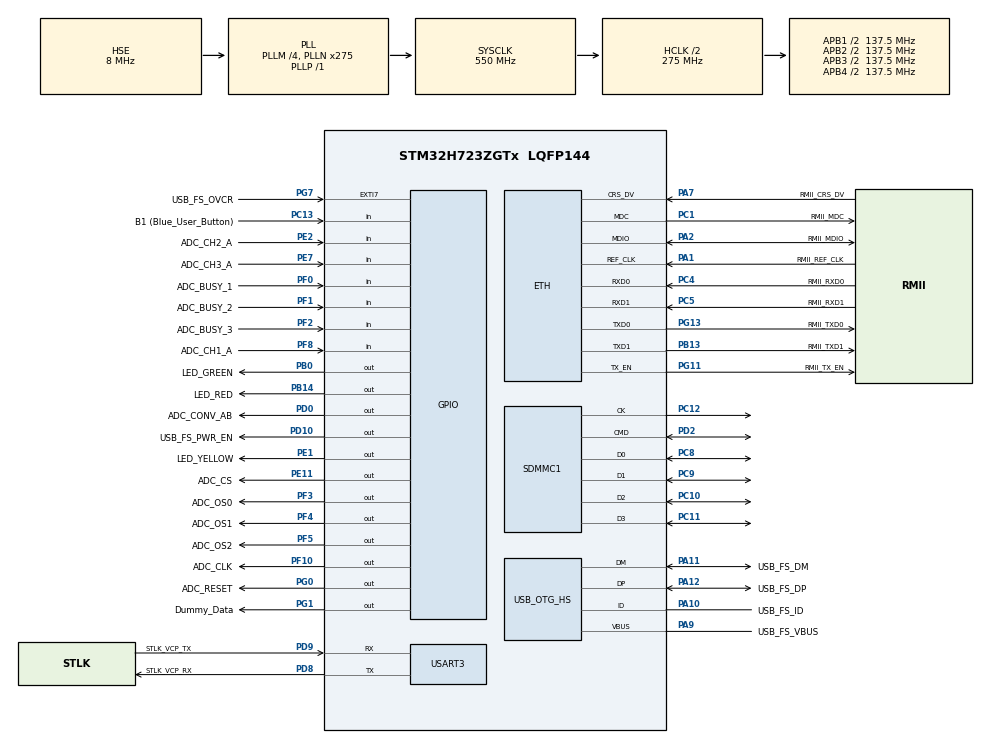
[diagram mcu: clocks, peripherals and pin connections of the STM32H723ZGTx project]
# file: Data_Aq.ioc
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ETH.MediaInterface=HAL_ETH_RMII_MODE
FATFS.BSP.number=1
FATFS.USE_DMA_CODE_SD=1
FATFS0.BSP.STBoard=false
FATFS0.BSP.api=Unknown
FATFS0.BSP.i2caddr=0
FATFS0.BSP.instance=PC13
FATFS0.BSP.ip=GPIO
FATFS0.BSP.mode=Input
FATFS0.BSP.name=Detect_SDIO
FATFS0.BSP.solution=PC13
FREERTOS.Tasks01=SDCard,26,1024,StartSDCardTask,Default,NULL,Dynamic,NULL,NULL;ServiceADC,25,1024,StartServiceADC,Default,NULL,Dynamic,NULL,NULL
FREERTOS.configTOTAL_HEAP_SIZE=122880
FREERTOS.configUSE_NEWLIB_REENTRANT=1
Mcu.Family=STM32H7
Mcu.Name=STM32H723ZGTx
Mcu.Package=LQFP144
Mdma.MDMA_Channel0.Request0=SDMMC1_END_DATA
Mdma.MDMA_Channel0.RequestsNb=1
Mdma.MDMA_Channel0.SDMMC1_END_DATA.0.BlockCount=0
Mdma.MDMA_Channel0.SDMMC1_END_DATA.0.BlockDataLength=0
Mdma.MDMA_Channel0.SDMMC1_END_DATA.0.BufferTransferLength=1
Mdma.MDMA_Channel0.SDMMC1_END_DATA.0.CircularMode=MDMA_LINEAR_LIST
Mdma.MDMA_Channel0.SDMMC1_END_DATA.0.DataAlignment=MDMA_DATAALIGN_PACKENABLE
Mdma.MDMA_Channel0.SDMMC1_END_DATA.0.DestBlockAddressOffset=0
Mdma.MDMA_Channel0.SDMMC1_END_DATA.0.DestBurst=MDMA_DEST_BURST_SINGLE
Mdma.MDMA_Channel0.SDMMC1_END_DATA.0.DestDataSize=MDMA_DEST_DATASIZE_BYTE
Mdma.MDMA_Channel0.SDMMC1_END_DATA.0.DestinationInc=MDMA_DEST_INC_BYTE
Mdma.MDMA_Channel0.SDMMC1_END_DATA.0.DstAddress=0
Mdma.MDMA_Channel0.SDMMC1_END_DATA.0.Endianness=MDMA_LITTLE_ENDIANNESS_PRESERVE
Mdma.MDMA_Channel0.SDMMC1_END_DATA.0.Instance=MDMA_Channel0
Mdma.MDMA_Channel0.SDMMC1_END_DATA.0.MaskAddress=0
Mdma.MDMA_Channel0.SDMMC1_END_DATA.0.MaskData=0
Mdma.MDMA_Channel0.SDMMC1_END_DATA.0.Priority=MDMA_PRIORITY_LOW
Mdma.MDMA_Channel0.SDMMC1_END_DATA.0.Rank=First
Mdma.MDMA_Channel0.SDMMC1_END_DATA.0.SourceBlockAddressOffset=0
Mdma.MDMA_Channel0.SDMMC1_END_DATA.0.SourceBurst=MDMA_SOURCE_BURST_SINGLE
Mdma.MDMA_Channel0.SDMMC1_END_DATA.0.SourceDataSize=MDMA_SRC_DATASIZE_BYTE
Mdma.MDMA_Channel0.SDMMC1_END_DATA.0.SourceInc=MDMA_SRC_INC_BYTE
Mdma.MDMA_Channel0.SDMMC1_END_DATA.0.SrcAddress=0
Mdma.MDMA_Channel0.SDMMC1_END_DATA.0.TransferTriggerMode=MDMA_BUFFER_TRANSFER
Mdma.RequestSet0=MDMA_Channel0
Mdma.RequestSetsNb=1
NVIC.MDMA_IRQn=true\:5\:0\:false\:false\:true\:false\:false\:true
NVIC.PriorityGroup=NVIC_PRIORITYGROUP_4
NVIC.SDMMC1_IRQn=true\:5\:0\:false\:false\:true\:true\:true\:true
NVIC.TIM1_UP_IRQn=true\:15\:0\:false\:false\:true\:false\:false\:true
NVIC.TimeBase=TIM1_UP_IRQn
NVIC.TimeBaseIP=TIM1
PA1.GPIO_Label=RMII_REF_CLK
PA1.Mode=RMII
PA1.Signal=ETH_REF_CLK
PA10.GPIO_Label=USB_FS_ID
PA10.Mode=OTG/Dual-Role-Device-FS
PA10.Signal=USB_OTG_HS_ID
PA11.GPIO_Label=USB_FS_DM
PA11.Mode=OTG/Dual-Role-Device-FS
PA11.Signal=USB_OTG_HS_DM
PA12.GPIO_Label=USB_FS_DP
PA12.Mode=OTG/Dual-Role-Device-FS
PA12.Signal=USB_OTG_HS_DP
PA13(JTMS/SWDIO).GPIO_Label=SWDIO
PA13(JTMS/SWDIO).Mode=Trace_Asynchronous_SW
PA13(JTMS/SWDIO).Signal=DEBUG_JTMS-SWDIO
PA14(JTCK/SWCLK).GPIO_Label=SWCLK
PA14(JTCK/SWCLK).Mode=Trace_Asynchronous_SW
PA14(JTCK/SWCLK).Signal=DEBUG_JTCK-SWCLK
PA2.GPIO_Label=RMII_MDIO
PA2.Mode=RMII
PA2.Signal=ETH_MDIO
PA7.GPIO_Label=RMII_CRS_DV
PA7.Mode=RMII
PA7.Signal=ETH_CRS_DV
PA9.GPIO_Label=USB_FS_VBUS
PA9.Mode=Activate_VBUS_FS
PA9.Signal=USB_OTG_HS_VBUS
PB0.GPIO_Label=LED_GREEN
PB0.Signal=GPIO_Output
PB13.GPIO_Label=RMII_TXD1
PB13.Mode=RMII
PB13.Signal=ETH_TXD1
PB14.GPIO_Label=LED_RED
PB14.Signal=GPIO_Output
PB3(JTDO/TRACESWO).GPIO_Label=SWO
PB3(JTDO/TRACESWO).Mode=Trace_Asynchronous_SW
PB3(JTDO/TRACESWO).Signal=DEBUG_JTDO-SWO
PC1.GPIO_Label=RMII_MDC
PC1.Mode=RMII
PC1.Signal=ETH_MDC
PC10.Mode=SD_4_bits_Wide_bus
PC10.Signal=SDMMC1_D2
PC11.Mode=SD_4_bits_Wide_bus
PC11.Signal=SDMMC1_D3
PC12.Mode=SD_4_bits_Wide_bus
PC12.Signal=SDMMC1_CK
PC13.GPIO_Label=B1 (Blue_User_Button)
PC13.Signal=GPIO_Input
PC14-OSC32_IN.Mode=LSE-External-Oscillator
PC14-OSC32_IN.Signal=RCC_OSC32_IN
PC15-OSC32_OUT.Mode=LSE-External-Oscillator
PC15-OSC32_OUT.Signal=RCC_OSC32_OUT
PC4.GPIO_Label=RMII_RXD0
PC4.Mode=RMII
PC4.Signal=ETH_RXD0
PC5.GPIO_Label=RMII_RXD1
PC5.Mode=RMII
PC5.Signal=ETH_RXD1
PC8.Mode=SD_4_bits_Wide_bus
PC8.Signal=SDMMC1_D0
PC9.Mode=SD_4_bits_Wide_bus
PC9.Signal=SDMMC1_D1
PD0.GPIO_Label=ADC_CONV_AB
PD0.GPIO_PuPd=GPIO_PULLUP
PD0.GPIO_Speed=GPIO_SPEED_FREQ_LOW
PD0.PinState=GPIO_PIN_SET
PD0.Signal=GPIO_Output
PD10.GPIO_Label=USB_FS_PWR_EN
PD10.Signal=GPIO_Output
PD2.Mode=SD_4_bits_Wide_bus
PD2.Signal=SDMMC1_CMD
PD8.GPIO_Label=STLK_VCP_RX
PD8.Mode=Asynchronous
PD8.Signal=USART3_TX
PD9.GPIO_Label=STLK_VCP_TX
PD9.Mode=Asynchronous
PD9.Signal=USART3_RX
PE1.GPIO_Label=LED_YELLOW
PE1.Signal=GPIO_Output
PE11.GPIO_Label=ADC_CS
PE11.GPIO_ModeDefaultOutputPP=GPIO_MODE_OUTPUT_PP
PE11.GPIO_PuPd=GPIO_NOPULL
PE11.GPIO_Speed=GPIO_SPEED_FREQ_LOW
PE11.PinState=GPIO_PIN_SET
PE11.Signal=GPIO_Output
PE2.GPIO_Label=ADC_CH2_A
PE2.Signal=GPIO_Input
PE7.GPIO_Label=ADC_CH3_A
PE7.Signal=GPIO_Input
PF0.GPIO_Label=ADC_BUSY_1
PF0.GPIO_PuPd=GPIO_PULLUP
PF0.Signal=GPIO_Input
PF1.GPIO_Label=ADC_BUSY_2
PF1.GPIO_PuPd=GPIO_NOPULL
PF1.Signal=GPIO_Input
PF10.GPIO_Label=ADC_CLK
PF10.GPIO_Speed=GPIO_SPEED_FREQ_VERY_HIGH
PF10.PinState=GPIO_PIN_SET
PF10.Signal=GPIO_Output
PF2.GPIO_Label=ADC_BUSY_3
PF2.GPIO_PuPd=GPIO_NOPULL
PF2.Signal=GPIO_Input
PF3.GPIO_Label=ADC_OS0
PF3.Signal=GPIO_Output
PF4.GPIO_Label=ADC_OS1
PF4.Signal=GPIO_Output
PF5.GPIO_Label=ADC_OS2
PF5.Signal=GPIO_Output
PF8.GPIO_Label=ADC_CH1_A
PF8.Signal=GPIO_Input
PG0.GPIO_Label=ADC_RESET
PG0.GPIO_PuPd=GPIO_NOPULL
PG0.PinState=GPIO_PIN_SET
PG0.Signal=GPIO_Output
PG1.GPIO_Label=Dummy_Data
PG1.GPIO_PuPd=GPIO_PULLUP
PG1.PinState=GPIO_PIN_SET
PG1.Signal=GPIO_Output
PG11.GPIO_Label=RMII_TX_EN
PG11.Mode=RMII
PG11.Signal=ETH_TX_EN
PG13.GPIO_Label=RMII_TXD0
PG13.Mode=RMII
PG13.Signal=ETH_TXD0
PG7.GPIO_Label=USB_FS_OVCR
PG7.Signal=GPXTI7
PH0-OSC_IN.GPIO_Label=MCO
PH0-OSC_IN.Mode=HSE-External-Clock-Source
PH0-OSC_IN.Signal=RCC_OSC_IN
PH1-OSC_OUT.Signal=RCC_OSC_OUT
ProjectManager.HeapSize=0x200
ProjectManager.StackSize=0x400
ProjectManager.TargetToolchain=STM32CubeIDE
RCC.ADCFreq_Value=100000000
RCC.APB1Freq_Value=137500000
RCC.APB2Freq_Value=137500000
RCC.APB3Freq_Value=137500000
RCC.APB4Freq_Value=137500000
RCC.CortexFreq_Value=550000000
RCC.D1PPRE=RCC_APB3_DIV2
RCC.D2PPRE1=RCC_APB1_DIV2
RCC.D2PPRE2=RCC_APB2_DIV2
RCC.D3PPRE=RCC_APB4_DIV2
RCC.DIVM1=4
RCC.DIVM2=1
RCC.DIVN1=275
RCC.DIVN2=25
RCC.DIVP1=1
RCC.DIVQ1=4
RCC.HCLKFreq_Value=275000000
RCC.HPRE=RCC_HCLK_DIV2
RCC.HSE_VALUE=8000000
RCC.PLLFRACN=0
RCC.PLLSourceVirtual=RCC_PLLSOURCE_HSE
RCC.QSPICLockSelection=RCC_OSPICLKSOURCE_PLL2
RCC.SDMMC1CLockSelection=RCC_SDMMCCLKSOURCE_PLL2
RCC.SYSCLKFreq_VALUE=550000000
RCC.SYSCLKSource=RCC_SYSCLKSOURCE_PLLCLK
RCC.USBCLockSelection=RCC_USBCLKSOURCE_HSI48
RCC.USBFreq_Value=48000000
SDMMC1.ClockDiv=1
SDMMC1.ClockPowerSave=SDMMC_CLOCK_POWER_SAVE_ENABLE
TIM13.Channel=TIM_CHANNEL_1
TIM13.Prescaler=0
USART3.VirtualMode-Asynchronous=VM_ASYNC
VP_FATFS_VS_SDIO.Mode=SDIO
VP_FREERTOS_VS_CMSIS_V2.Mode=CMSIS_V2
VP_SYS_VS_tim1.Mode=TIM1
VP_TIM13_VS_ClockSourceINT.Mode=Enable_Timer
VP_TIM13_VS_no_output1.Mode=Output Compare1 No Output
board=NUCLEO-H723ZG

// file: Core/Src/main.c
/* USER CODE BEGIN Header */
/**
  ******************************************************************************
  * @file           : main.c
  * @brief          : Main program body
  ******************************************************************************
  * @attention
  *
  * Copyright (c) 2022 STMicroelectronics.
  * All rights reserved.
  *
  * This software is licensed under terms that can be found in the LICENSE file
  * in the root directory of this software component.
  * If no LICENSE file comes with this software, it is provided AS-IS.
  *
  ******************************************************************************
  */
/* USER CODE END Header */
#include "main.h"
#include "string.h"
#include "cmsis_os.h"
#include "fatfs.h"

/* USER CODE BEGIN Includes */
#include "helpercmd.h"
#include "SDInterface.h"
#include "string.h"
#include "stdio.h"
#include "ADS8588H.h"
/* USER CODE END Includes */

/* USER CODE BEGIN PTD */
#define chunk_mult 64
#define chunk_size 512*chunk_mult
/* USER CODE END PTD */

/* USER CODE BEGIN PD */
void WriteTime();
static void FS_SPAM(void);
static void FS_MOUNT(void);
/* USER CODE END PD */

#if defined ( __ICCARM__ ) /*!< IAR Compiler */

#pragma location=0x30000000
ETH_DMADescTypeDef  DMARxDscrTab[ETH_RX_DESC_CNT]; /* Ethernet Rx DMA Descriptors */
#pragma location=0x30000060
ETH_DMADescTypeDef  DMATxDscrTab[ETH_TX_DESC_CNT]; /* Ethernet Tx DMA Descriptors */
#pragma location=0x300000c0
uint8_t Rx_Buff[ETH_RX_DESC_CNT][ETH_MAX_PACKET_SIZE]; /* Ethernet Receive Buffers */

#elif defined ( __CC_ARM )  /* MDK ARM Compiler */

__attribute__((at(0x30000000))) ETH_DMADescTypeDef  DMARxDscrTab[ETH_RX_DESC_CNT]; /* Ethernet Rx DMA Descriptors */
__attribute__((at(0x30000060))) ETH_DMADescTypeDef  DMATxDscrTab[ETH_TX_DESC_CNT]; /* Ethernet Tx DMA Descriptors */
__attribute__((at(0x300000c0))) uint8_t Rx_Buff[ETH_RX_DESC_CNT][ETH_MAX_PACKET_SIZE]; /* Ethernet Receive Buffer */

#elif defined ( __GNUC__ ) /* GNU Compiler */

ETH_DMADescTypeDef DMARxDscrTab[ETH_RX_DESC_CNT] __attribute__((section(".RxDecripSection"))); /* Ethernet Rx DMA Descriptors */
ETH_DMADescTypeDef DMATxDscrTab[ETH_TX_DESC_CNT] __attribute__((section(".TxDecripSection")));   /* Ethernet Tx DMA Descriptors */
uint8_t Rx_Buff[ETH_RX_DESC_CNT][ETH_MAX_PACKET_SIZE] __attribute__((section(".RxArraySection"))); /* Ethernet Receive Buffers */

#endif

ETH_TxPacketConfig TxConfig;

ETH_HandleTypeDef heth;

SD_HandleTypeDef hsd1;

TIM_HandleTypeDef htim13;

UART_HandleTypeDef huart3;

MDMA_HandleTypeDef hmdma_mdma_channel40_sdmmc1_end_data_0;
/* Definitions for SDCard */
osThreadId_t SDCardHandle;
const osThreadAttr_t SDCard_attributes = {
  .name = "SDCard",
  .stack_size = 1024 * 4,
  .priority = (osPriority_t) osPriorityNormal2,
};
/* Definitions for ServiceADC */
osThreadId_t ServiceADCHandle;
const osThreadAttr_t ServiceADC_attributes = {
  .name = "ServiceADC",
  .stack_size = 1024 * 4,
  .priority = (osPriority_t) osPriorityNormal1,
};

void SystemClock_Config(void);
static void MX_GPIO_Init(void);
static void MX_ETH_Init(void);
static void MX_MDMA_Init(void);
static void MX_SDMMC1_SD_Init(void);
static void MX_USART3_UART_Init(void);
static void MX_USB_OTG_HS_USB_Init(void);
static void MX_TIM13_Init(void);
void StartSDCardTask(void *argument);
void StartServiceADC(void *argument);

/* USER CODE BEGIN 0 */
FRESULT res;
uint32_t byteswritten, bytesread;
char text[] = "empty place holder that needs length";
const char * file_name[] = {"MyFile.hex"};
// SD card variables for FATFS
extern char SDPath[4]; 	/* SD logical drive path */
extern FATFS SDFatFS;	/* File system object for SD logical drive */
extern FIL SDFile;		/* File object for SD */

FRESULT res;
uint32_t byteswritten, bytesread;
uint8_t stext[chunk_size] = "This is me, and my own world";
uint8_t rtext[100];

uint8_t workBuffer[_MAX_SS];
uint8_t pData[65]={0};

static uint8_t isFsCreated = 1;

ADS8588H_Interface_t ADC;

/* USER CODE END 0 */

int main(void)
{
  /* USER CODE BEGIN 1 */
//  HalfKBWrite((char *)stext,chunk_mult);
//  for(int i = 0; i <65;i++)
//  {
//  	  pData[i]=i;
//  }
  /* USER CODE END 1 */

  /* MCU Configuration--------------------------------------------------------*/

  /* Reset of all peripherals, Initializes the Flash interface and the Systick. */
  HAL_Init();

  /* Configure the system clock */
  SystemClock_Config();

  /* Initialize all configured peripherals */
  MX_GPIO_Init();
  MX_ETH_Init();
  MX_MDMA_Init();
  MX_SDMMC1_SD_Init();
  MX_FATFS_Init();
  MX_USART3_UART_Init();
  MX_USB_OTG_HS_USB_Init();
  MX_TIM13_Init();
  /* USER CODE BEGIN 2 */
  ADS8588H_Init_Struct(&ADC,
		  &htim13,
		  ADC_RESET_GPIO_Port,	ADC_RESET_Pin,
		  ADC_CONV_AB_GPIO_Port,	ADC_CONV_AB_Pin,
		  ADC_CS_GPIO_Port,		ADC_CS_Pin,
		  ADC_BUSY_1_GPIO_Port,	ADC_BUSY_1_Pin,
		  ADC_BUSY_2_GPIO_Port,	ADC_BUSY_2_Pin,
		  ADC_BUSY_3_GPIO_Port,	ADC_BUSY_3_Pin,
		  ADC_OS0_GPIO_Port,	ADC_OS0_Pin,
		  ADC_OS1_GPIO_Port,	ADC_OS1_Pin,
		  ADC_OS2_GPIO_Port,	ADC_OS2_Pin,
		  OSR_64
		  );
  ADS8588H_Init(&ADC);

  HAL_GPIO_WritePin(LED_GREEN_GPIO_Port,LED_GREEN_Pin,SET);
  /* USER CODE END 2 */

  /* Init scheduler */
  osKernelInitialize();

  /* Create the thread(s) */
  /* creation of SDCard */
  SDCardHandle = osThreadNew(StartSDCardTask, NULL, &SDCard_attributes);

  /* creation of ServiceADC */
  ServiceADCHandle = osThreadNew(StartServiceADC, NULL, &ServiceADC_attributes);

  /* Start scheduler */
  osKernelStart();

  /* We should never get here as control is now taken by the scheduler */
  /* Infinite loop */
  /* USER CODE BEGIN WHILE */
  //  char str[80]={0};
  //  HAL_UART_Transmit(&huart3, (uint8_t*)str, sprintf(str, "time taken %d \r\n", timestop-timestart), 10);
    Error_Handler();
  while (1)
  {
    /* USER CODE END WHILE */

  }
}

void SystemClock_Config(void)
{
  RCC_OscInitTypeDef RCC_OscInitStruct = {0};
  RCC_ClkInitTypeDef RCC_ClkInitStruct = {0};

  /** Supply configuration update enable
  */
  HAL_PWREx_ConfigSupply(PWR_LDO_SUPPLY);
  /** Configure the main internal regulator output voltage
  */
  __HAL_PWR_VOLTAGESCALING_CONFIG(PWR_REGULATOR_VOLTAGE_SCALE0);

  while(!__HAL_PWR_GET_FLAG(PWR_FLAG_VOSRDY)) {}
  /** Macro to configure the PLL clock source
  */
  __HAL_RCC_PLL_PLLSOURCE_CONFIG(RCC_PLLSOURCE_HSE);
  /** Initializes the RCC Oscillators according to the specified parameters
  * in the RCC_OscInitTypeDef structure.
  */
  RCC_OscInitStruct.OscillatorType = RCC_OSCILLATORTYPE_HSI48|RCC_OSCILLATORTYPE_HSE;
  RCC_OscInitStruct.HSEState = RCC_HSE_BYPASS;
  RCC_OscInitStruct.HSI48State = RCC_HSI48_ON;
  RCC_OscInitStruct.PLL.PLLState = RCC_PLL_ON;
  RCC_OscInitStruct.PLL.PLLSource = RCC_PLLSOURCE_HSE;
  RCC_OscInitStruct.PLL.PLLM = 4;
  RCC_OscInitStruct.PLL.PLLN = 275;
  RCC_OscInitStruct.PLL.PLLP = 1;
  RCC_OscInitStruct.PLL.PLLQ = 4;
  RCC_OscInitStruct.PLL.PLLR = 2;
  RCC_OscInitStruct.PLL.PLLRGE = RCC_PLL1VCIRANGE_1;
  RCC_OscInitStruct.PLL.PLLVCOSEL = RCC_PLL1VCOWIDE;
  RCC_OscInitStruct.PLL.PLLFRACN = 0;
  if (HAL_RCC_OscConfig(&RCC_OscInitStruct) != HAL_OK)
  {
    Error_Handler();
  }
  /** Initializes the CPU, AHB and APB buses clocks
  */
  RCC_ClkInitStruct.ClockType = RCC_CLOCKTYPE_HCLK|RCC_CLOCKTYPE_SYSCLK
                              |RCC_CLOCKTYPE_PCLK1|RCC_CLOCKTYPE_PCLK2
                              |RCC_CLOCKTYPE_D3PCLK1|RCC_CLOCKTYPE_D1PCLK1;
  RCC_ClkInitStruct.SYSCLKSource = RCC_SYSCLKSOURCE_PLLCLK;
  RCC_ClkInitStruct.SYSCLKDivider = RCC_SYSCLK_DIV1;
  RCC_ClkInitStruct.AHBCLKDivider = RCC_HCLK_DIV2;
  RCC_ClkInitStruct.APB3CLKDivider = RCC_APB3_DIV2;
  RCC_ClkInitStruct.APB1CLKDivider = RCC_APB1_DIV2;
  RCC_ClkInitStruct.APB2CLKDivider = RCC_APB2_DIV2;
  RCC_ClkInitStruct.APB4CLKDivider = RCC_APB4_DIV2;

  if (HAL_RCC_ClockConfig(&RCC_ClkInitStruct, FLASH_LATENCY_3) != HAL_OK)
  {
    Error_Handler();
  }
}

static void MX_ETH_Init(void)
{

   static uint8_t MACAddr[6];

  heth.Instance = ETH;
  MACAddr[0] = 0x00;
  MACAddr[1] = 0x80;
  MACAddr[2] = 0xE1;
  MACAddr[3] = 0x00;
  MACAddr[4] = 0x00;
  MACAddr[5] = 0x00;
  heth.Init.MACAddr = &MACAddr[0];
  heth.Init.MediaInterface = HAL_ETH_RMII_MODE;
  heth.Init.TxDesc = DMATxDscrTab;
  heth.Init.RxDesc = DMARxDscrTab;
  heth.Init.RxBuffLen = 1524;

  if (HAL_ETH_Init(&heth) != HAL_OK)
  {
    Error_Handler();
  }

  memset(&TxConfig, 0 , sizeof(ETH_TxPacketConfig));
  TxConfig.Attributes = ETH_TX_PACKETS_FEATURES_CSUM | ETH_TX_PACKETS_FEATURES_CRCPAD;
  TxConfig.ChecksumCtrl = ETH_CHECKSUM_IPHDR_PAYLOAD_INSERT_PHDR_CALC;
  TxConfig.CRCPadCtrl = ETH_CRC_PAD_INSERT;

}

static void MX_SDMMC1_SD_Init(void)
{

  hsd1.Instance = SDMMC1;
  hsd1.Init.ClockEdge = SDMMC_CLOCK_EDGE_RISING;
  hsd1.Init.ClockPowerSave = SDMMC_CLOCK_POWER_SAVE_ENABLE;
  hsd1.Init.BusWide = SDMMC_BUS_WIDE_4B;
  hsd1.Init.HardwareFlowControl = SDMMC_HARDWARE_FLOW_CONTROL_DISABLE;
  hsd1.Init.ClockDiv = 1;
  /* USER CODE BEGIN SDMMC1_Init 2 */
  __HAL_RCC_SDMMC1_FORCE_RESET();
  __HAL_RCC_SDMMC1_RELEASE_RESET();
  /* USER CODE END SDMMC1_Init 2 */

}

static void MX_TIM13_Init(void)
{

  TIM_OC_InitTypeDef sConfigOC = {0};

  htim13.Instance = TIM13;
  htim13.Init.Prescaler = 0;
  htim13.Init.CounterMode = TIM_COUNTERMODE_UP;
  htim13.Init.Period = 65535;
  htim13.Init.ClockDivision = TIM_CLOCKDIVISION_DIV1;
  htim13.Init.AutoReloadPreload = TIM_AUTORELOAD_PRELOAD_DISABLE;
  if (HAL_TIM_Base_Init(&htim13) != HAL_OK)
  {
    Error_Handler();
  }
  if (HAL_TIM_OC_Init(&htim13) != HAL_OK)
  {
    Error_Handler();
  }
  sConfigOC.OCMode = TIM_OCMODE_TIMING;
  sConfigOC.Pulse = 0;
  sConfigOC.OCPolarity = TIM_OCPOLARITY_HIGH;
  sConfigOC.OCFastMode = TIM_OCFAST_DISABLE;
  if (HAL_TIM_OC_ConfigChannel(&htim13, &sConfigOC, TIM_CHANNEL_1) != HAL_OK)
  {
    Error_Handler();
  }

}

static void MX_USART3_UART_Init(void)
{

  huart3.Instance = USART3;
  huart3.Init.BaudRate = 115200;
  huart3.Init.WordLength = UART_WORDLENGTH_8B;
  huart3.Init.StopBits = UART_STOPBITS_1;
  huart3.Init.Parity = UART_PARITY_NONE;
  huart3.Init.Mode = UART_MODE_TX_RX;
  huart3.Init.HwFlowCtl = UART_HWCONTROL_NONE;
  huart3.Init.OverSampling = UART_OVERSAMPLING_16;
  huart3.Init.OneBitSampling = UART_ONE_BIT_SAMPLE_DISABLE;
  huart3.Init.ClockPrescaler = UART_PRESCALER_DIV1;
  huart3.AdvancedInit.AdvFeatureInit = UART_ADVFEATURE_NO_INIT;
  if (HAL_UART_Init(&huart3) != HAL_OK)
  {
    Error_Handler();
  }
  if (HAL_UARTEx_SetTxFifoThreshold(&huart3, UART_TXFIFO_THRESHOLD_1_8) != HAL_OK)
  {
    Error_Handler();
  }
  if (HAL_UARTEx_SetRxFifoThreshold(&huart3, UART_RXFIFO_THRESHOLD_1_8) != HAL_OK)
  {
    Error_Handler();
  }
  if (HAL_UARTEx_DisableFifoMode(&huart3) != HAL_OK)
  {
    Error_Handler();
  }

}

static void MX_USB_OTG_HS_USB_Init(void)
{

}

/**
  * Enable MDMA controller clock
  * Configure MDMA for global transfers
  *   hmdma_mdma_channel40_sdmmc1_end_data_0
  */
static void MX_MDMA_Init(void)
{

  /* MDMA controller clock enable */
  __HAL_RCC_MDMA_CLK_ENABLE();
  /* Local variables */

  /* Configure MDMA channel MDMA_Channel0 */
  /* Configure MDMA request hmdma_mdma_channel40_sdmmc1_end_data_0 on MDMA_Channel0 */
  hmdma_mdma_channel40_sdmmc1_end_data_0.Instance = MDMA_Channel0;
  hmdma_mdma_channel40_sdmmc1_end_data_0.Init.Request = MDMA_REQUEST_SDMMC1_END_DATA;
  hmdma_mdma_channel40_sdmmc1_end_data_0.Init.TransferTriggerMode = MDMA_BUFFER_TRANSFER;
  hmdma_mdma_channel40_sdmmc1_end_data_0.Init.Priority = MDMA_PRIORITY_LOW;
  hmdma_mdma_channel40_sdmmc1_end_data_0.Init.Endianness = MDMA_LITTLE_ENDIANNESS_PRESERVE;
  hmdma_mdma_channel40_sdmmc1_end_data_0.Init.SourceInc = MDMA_SRC_INC_BYTE;
  hmdma_mdma_channel40_sdmmc1_end_data_0.Init.DestinationInc = MDMA_DEST_INC_BYTE;
  hmdma_mdma_channel40_sdmmc1_end_data_0.Init.SourceDataSize = MDMA_SRC_DATASIZE_BYTE;
  hmdma_mdma_channel40_sdmmc1_end_data_0.Init.DestDataSize = MDMA_DEST_DATASIZE_BYTE;
  hmdma_mdma_channel40_sdmmc1_end_data_0.Init.DataAlignment = MDMA_DATAALIGN_PACKENABLE;
  hmdma_mdma_channel40_sdmmc1_end_data_0.Init.BufferTransferLength = 1;
  hmdma_mdma_channel40_sdmmc1_end_data_0.Init.SourceBurst = MDMA_SOURCE_BURST_SINGLE;
  hmdma_mdma_channel40_sdmmc1_end_data_0.Init.DestBurst = MDMA_DEST_BURST_SINGLE;
  hmdma_mdma_channel40_sdmmc1_end_data_0.Init.SourceBlockAddressOffset = 0;
  hmdma_mdma_channel40_sdmmc1_end_data_0.Init.DestBlockAddressOffset = 0;
  if (HAL_MDMA_Init(&hmdma_mdma_channel40_sdmmc1_end_data_0) != HAL_OK)
  {
    Error_Handler();
  }

  /* Configure post request address and data masks */
  if (HAL_MDMA_ConfigPostRequestMask(&hmdma_mdma_channel40_sdmmc1_end_data_0, 0, 0) != HAL_OK)
  {
    Error_Handler();
  }

  /* MDMA interrupt initialization */
  /* MDMA_IRQn interrupt configuration */
  HAL_NVIC_SetPriority(MDMA_IRQn, 5, 0);
  HAL_NVIC_EnableIRQ(MDMA_IRQn);

}

static void MX_GPIO_Init(void)
{
  GPIO_InitTypeDef GPIO_InitStruct = {0};

  /* GPIO Ports Clock Enable */
  __HAL_RCC_GPIOE_CLK_ENABLE();
  __HAL_RCC_GPIOC_CLK_ENABLE();
  __HAL_RCC_GPIOF_CLK_ENABLE();
  __HAL_RCC_GPIOH_CLK_ENABLE();
  __HAL_RCC_GPIOA_CLK_ENABLE();
  __HAL_RCC_GPIOB_CLK_ENABLE();
  __HAL_RCC_GPIOG_CLK_ENABLE();
  __HAL_RCC_GPIOD_CLK_ENABLE();

  /*Configure GPIO pin Output Level */
  HAL_GPIO_WritePin(GPIOF, ADC_OS0_Pin|ADC_OS1_Pin|ADC_OS2_Pin, GPIO_PIN_RESET);

  /*Configure GPIO pin Output Level */
  HAL_GPIO_WritePin(ADC_CLK_GPIO_Port, ADC_CLK_Pin, GPIO_PIN_SET);

  /*Configure GPIO pin Output Level */
  HAL_GPIO_WritePin(GPIOB, LED_GREEN_Pin|LED_RED_Pin, GPIO_PIN_RESET);

  /*Configure GPIO pin Output Level */
  HAL_GPIO_WritePin(GPIOG, ADC_RESET_Pin|Dummy_Data_Pin, GPIO_PIN_SET);

  /*Configure GPIO pin Output Level */
  HAL_GPIO_WritePin(ADC_CS_GPIO_Port, ADC_CS_Pin, GPIO_PIN_SET);

  /*Configure GPIO pin Output Level */
  HAL_GPIO_WritePin(USB_FS_PWR_EN_GPIO_Port, USB_FS_PWR_EN_Pin, GPIO_PIN_RESET);

  /*Configure GPIO pin Output Level */
  HAL_GPIO_WritePin(ADC_CONV_AB_GPIO_Port, ADC_CONV_AB_Pin, GPIO_PIN_SET);

  /*Configure GPIO pin Output Level */
  HAL_GPIO_WritePin(LED_YELLOW_GPIO_Port, LED_YELLOW_Pin, GPIO_PIN_RESET);

  /*Configure GPIO pins : ADC_CH2_A_Pin ADC_CH3_A_Pin */
  GPIO_InitStruct.Pin = ADC_CH2_A_Pin|ADC_CH3_A_Pin;
  GPIO_InitStruct.Mode = GPIO_MODE_INPUT;
  GPIO_InitStruct.Pull = GPIO_NOPULL;
  HAL_GPIO_Init(GPIOE, &GPIO_InitStruct);

  /*Configure GPIO pin : B1_Pin */
  GPIO_InitStruct.Pin = B1_Pin;
  GPIO_InitStruct.Mode = GPIO_MODE_INPUT;
  GPIO_InitStruct.Pull = GPIO_NOPULL;
  HAL_GPIO_Init(B1_GPIO_Port, &GPIO_InitStruct);

  /*Configure GPIO pin : ADC_BUSY_1_Pin */
  GPIO_InitStruct.Pin = ADC_BUSY_1_Pin;
  GPIO_InitStruct.Mode = GPIO_MODE_INPUT;
  GPIO_InitStruct.Pull = GPIO_PULLUP;
  HAL_GPIO_Init(ADC_BUSY_1_GPIO_Port, &GPIO_InitStruct);

  /*Configure GPIO pins : ADC_BUSY_2_Pin ADC_BUSY_3_Pin ADC_CH1_A_Pin */
  GPIO_InitStruct.Pin = ADC_BUSY_2_Pin|ADC_BUSY_3_Pin|ADC_CH1_A_Pin;
  GPIO_InitStruct.Mode = GPIO_MODE_INPUT;
  GPIO_InitStruct.Pull = GPIO_NOPULL;
  HAL_GPIO_Init(GPIOF, &GPIO_InitStruct);

  /*Configure GPIO pins : ADC_OS0_Pin ADC_OS1_Pin ADC_OS2_Pin */
  GPIO_InitStruct.Pin = ADC_OS0_Pin|ADC_OS1_Pin|ADC_OS2_Pin;
  GPIO_InitStruct.Mode = GPIO_MODE_OUTPUT_PP;
  GPIO_InitStruct.Pull = GPIO_NOPULL;
  GPIO_InitStruct.Speed = GPIO_SPEED_FREQ_LOW;
  HAL_GPIO_Init(GPIOF, &GPIO_InitStruct);

  /*Configure GPIO pin : ADC_CLK_Pin */
  GPIO_InitStruct.Pin = ADC_CLK_Pin;
  GPIO_InitStruct.Mode = GPIO_MODE_OUTPUT_PP;
  GPIO_InitStruct.Pull = GPIO_NOPULL;
  GPIO_InitStruct.Speed = GPIO_SPEED_FREQ_VERY_HIGH;
  HAL_GPIO_Init(ADC_CLK_GPIO_Port, &GPIO_InitStruct);

  /*Configure GPIO pins : LED_GREEN_Pin LED_RED_Pin */
  GPIO_InitStruct.Pin = LED_GREEN_Pin|LED_RED_Pin;
  GPIO_InitStruct.Mode = GPIO_MODE_OUTPUT_PP;
  GPIO_InitStruct.Pull = GPIO_NOPULL;
  GPIO_InitStruct.Speed = GPIO_SPEED_FREQ_LOW;
  HAL_GPIO_Init(GPIOB, &GPIO_InitStruct);

  /*Configure GPIO pin : ADC_RESET_Pin */
  GPIO_InitStruct.Pin = ADC_RESET_Pin;
  GPIO_InitStruct.Mode = GPIO_MODE_OUTPUT_PP;
  GPIO_InitStruct.Pull = GPIO_NOPULL;
  GPIO_InitStruct.Speed = GPIO_SPEED_FREQ_LOW;
  HAL_GPIO_Init(ADC_RESET_GPIO_Port, &GPIO_InitStruct);

  /*Configure GPIO pin : Dummy_Data_Pin */
  GPIO_InitStruct.Pin = Dummy_Data_Pin;
  GPIO_InitStruct.Mode = GPIO_MODE_OUTPUT_PP;
  GPIO_InitStruct.Pull = GPIO_PULLUP;
  GPIO_InitStruct.Speed = GPIO_SPEED_FREQ_LOW;
  HAL_GPIO_Init(Dummy_Data_GPIO_Port, &GPIO_InitStruct);

  /*Configure GPIO pins : ADC_CS_Pin LED_YELLOW_Pin */
  GPIO_InitStruct.Pin = ADC_CS_Pin|LED_YELLOW_Pin;
  GPIO_InitStruct.Mode = GPIO_MODE_OUTPUT_PP;
  GPIO_InitStruct.Pull = GPIO_NOPULL;
  GPIO_InitStruct.Speed = GPIO_SPEED_FREQ_LOW;
  HAL_GPIO_Init(GPIOE, &GPIO_InitStruct);

  /*Configure GPIO pin : USB_FS_PWR_EN_Pin */
  GPIO_InitStruct.Pin = USB_FS_PWR_EN_Pin;
  GPIO_InitStruct.Mode = GPIO_MODE_OUTPUT_PP;
  GPIO_InitStruct.Pull = GPIO_NOPULL;
  GPIO_InitStruct.Speed = GPIO_SPEED_FREQ_LOW;
  HAL_GPIO_Init(USB_FS_PWR_EN_GPIO_Port, &GPIO_InitStruct);

  /*Configure GPIO pin : USB_FS_OVCR_Pin */
  GPIO_InitStruct.Pin = USB_FS_OVCR_Pin;
  GPIO_InitStruct.Mode = GPIO_MODE_IT_RISING;
  GPIO_InitStruct.Pull = GPIO_NOPULL;
  HAL_GPIO_Init(USB_FS_OVCR_GPIO_Port, &GPIO_InitStruct);

  /*Configure GPIO pin : USB_FS_VBUS_Pin */
  GPIO_InitStruct.Pin = USB_FS_VBUS_Pin;
  GPIO_InitStruct.Mode = GPIO_MODE_INPUT;
  GPIO_InitStruct.Pull = GPIO_NOPULL;
  HAL_GPIO_Init(USB_FS_VBUS_GPIO_Port, &GPIO_InitStruct);

  /*Configure GPIO pin : USB_FS_ID_Pin */
  GPIO_InitStruct.Pin = USB_FS_ID_Pin;
  GPIO_InitStruct.Mode = GPIO_MODE_AF_PP;
  GPIO_InitStruct.Pull = GPIO_NOPULL;
  GPIO_InitStruct.Speed = GPIO_SPEED_FREQ_LOW;
  GPIO_InitStruct.Alternate = GPIO_AF10_OTG1_HS;
  HAL_GPIO_Init(USB_FS_ID_GPIO_Port, &GPIO_InitStruct);

  /*Configure GPIO pin : ADC_CONV_AB_Pin */
  GPIO_InitStruct.Pin = ADC_CONV_AB_Pin;
  GPIO_InitStruct.Mode = GPIO_MODE_OUTPUT_PP;
  GPIO_InitStruct.Pull = GPIO_PULLUP;
  GPIO_InitStruct.Speed = GPIO_SPEED_FREQ_LOW;
  HAL_GPIO_Init(ADC_CONV_AB_GPIO_Port, &GPIO_InitStruct);

}

/* USER CODE BEGIN 4 */

void WriteTime()
{
	res = f_open(&SDFile, "STM.TXT", aPLUS);
	if(res != FR_OK)
	{
		Error_Handler();
	}
	sprintf(text, "\n#######################%u\n",(uint)HAL_GetTick());
	res = f_write(&SDFile, text, strlen((char *)text), (void *)&byteswritten);
	if((byteswritten == 0) || (res != FR_OK))
	{

	}
	else
	{
		f_close(&SDFile);
	}
}

static void FS_MOUNT(void)
{
	res = f_mount(&SDFatFS, (TCHAR const*)SDPath, 0);
	if(res == FR_OK)
	{
		/* check whether the FS has been already created */
		if (isFsCreated == 0)
		{
			res = f_mkfs(SDPath, FM_ANY, 0, workBuffer, sizeof(workBuffer));
			if(res != FR_OK)
			{
				Error_Handler();
			}
		isFsCreated = 1;
		}
	}
}

static void FS_SPAM(void)
{
	res = f_open(&SDFile, "STM32.BIN", aPLUS);
	if(res == FR_OK)
	{
		for(int repeat = 0; repeat<100; repeat++)
		{
			/* Write data to the text file */
			res = f_write(&SDFile, stext, sizeof(stext), (void *)&byteswritten);
		}

		if((byteswritten > 0) && (res == FR_OK))
		{
			/* Close the open text file */
			f_close(&SDFile);
		}
	}
}

/* USER CODE END 4 */

void StartSDCardTask(void *argument)
{
  /* USER CODE BEGIN 5 */
	// Disable SD card task when integrating ADC
	vTaskSuspend(NULL);
	int counter = 0;
	vTaskSuspend(ServiceADCHandle);
	FS_MOUNT();
	vTaskResume(ServiceADCHandle);
  /* Infinite loop */
  for(;;)
  {
	counter++;
	HAL_GPIO_WritePin(LED_YELLOW_GPIO_Port,LED_YELLOW_Pin,SET);
	WriteTime();
	FS_SPAM();
	WriteTime();
	HAL_GPIO_WritePin(LED_YELLOW_GPIO_Port,LED_YELLOW_Pin,RESET);
	HAL_GPIO_TogglePin(LED_RED_GPIO_Port,LED_RED_Pin);
	if(counter>=1){
		osDelay(10000);
	}
  }
  /* USER CODE END 5 */
}

void StartServiceADC(void *argument)
{
  /* USER CODE BEGIN StartServiceADC */
	//vTaskSuspend(NULL);
  /* Infinite loop */
	/*
	* Perform task every xFrequency ticks
	*/
	const TickType_t xFrequency = 1;
	TickType_t xLastWakeTime;
	xLastWakeTime = xTaskGetTickCount();
  for(;;)
  {
	 HAL_GPIO_TogglePin(Dummy_Data_GPIO_Port, Dummy_Data_Pin);
	ADC_SERVICE_ROUTINE(&ADC);
	HAL_GPIO_TogglePin(Dummy_Data_GPIO_Port, Dummy_Data_Pin);
	memset(ADC.DATA.raw_data_16,0,sizeof(ADC.DATA.raw_data_16));
	vTaskDelayUntil( &xLastWakeTime, xFrequency );
  }
  /* USER CODE END StartServiceADC */
}

void HAL_TIM_PeriodElapsedCallback(TIM_HandleTypeDef *htim)
{
  if (htim->Instance == TIM1) {
    HAL_IncTick();
  }
}

void Error_Handler(void)
{
  /* USER CODE BEGIN Error_Handler_Debug */
	HAL_GPIO_WritePin(LED_GREEN_GPIO_Port,LED_GREEN_Pin,RESET);
	HAL_GPIO_WritePin(LED_YELLOW_GPIO_Port,LED_YELLOW_Pin,RESET);
	HAL_GPIO_WritePin(LED_RED_GPIO_Port,LED_RED_Pin,RESET);
  /* User can add his own implementation to report the HAL error return state */
  __disable_irq();
  while (1)
  {
  }
  /* USER CODE END Error_Handler_Debug */
}
